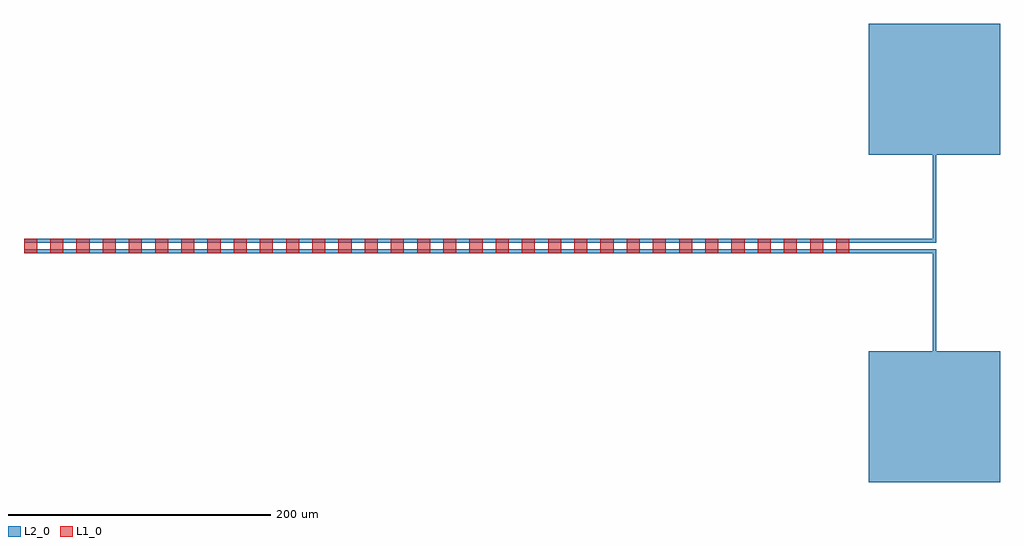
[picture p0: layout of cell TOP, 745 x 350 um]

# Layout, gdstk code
import gdstk
lib = gdstk.Library(unit=1e-6, precision=1e-09)
def R(c, l, rs):  # rectangles x0, y0, x1, y1
    for r in rs: c.add(gdstk.rectangle(r[:2], r[2:], *l))
def A(c, l, x, y, w, h, nx, ny, dx, dy):  # array of equal rectangles
    R(c, l, [(x+i*dx, y+j*dy, x+i*dx+w, y+j*dy+h) for i in range(nx) for j in range(ny)])
L1_0 = (1, 0)
L2_0 = (2, 0)

top = lib.new_cell('TOP')
A(top, L1_0, -5, 0, 10, 11, 32, 1, 20, 0)
R(top, L2_0, [(640,-175,740,-75), (-5,0,625,3), (-5,8,625,11), (640,75,740,175)])
top.add(gdstk.FlexPath([(625,1.5),(690,1.5),(690,-75)], 3, ends="flush", simple_path=True, layer=2, datatype=0))  # L2_0
top.add(gdstk.FlexPath([(625.05,9.5),(690,9.5),(690,75)], 3, ends="flush", simple_path=True, layer=2, datatype=0))  # L2_0

lib.write_gds('TOP.gds')
